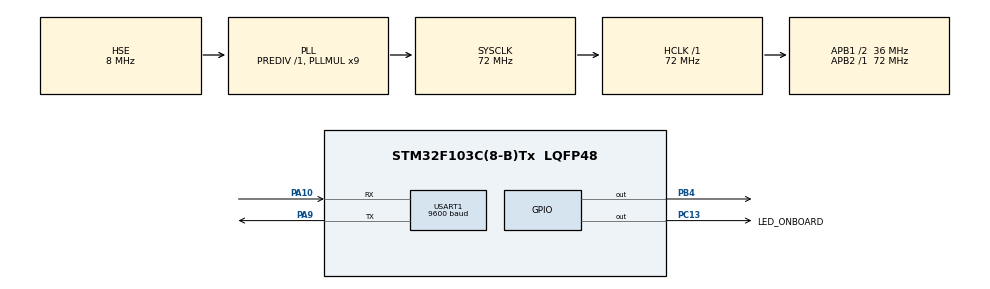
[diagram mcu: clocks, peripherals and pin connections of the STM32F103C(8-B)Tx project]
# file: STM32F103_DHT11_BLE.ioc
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Mcu.Family=STM32F1
Mcu.Name=STM32F103C(8-B)Tx
Mcu.Package=LQFP48
NVIC.PriorityGroup=NVIC_PRIORITYGROUP_4
NVIC.USART1_IRQn=true\:0\:0\:false\:false\:true\:true\:true\:true
PA10.Mode=Asynchronous
PA10.Signal=USART1_RX
PA13.Mode=Serial_Wire
PA13.Signal=SYS_JTMS-SWDIO
PA14.Mode=Serial_Wire
PA14.Signal=SYS_JTCK-SWCLK
PA9.Mode=Asynchronous
PA9.Signal=USART1_TX
PB4.GPIO_ModeDefaultOutputPP=GPIO_MODE_OUTPUT_OD
PB4.GPIO_PuPd=GPIO_NOPULL
PB4.Signal=GPIO_Output
PC13-TAMPER-RTC.GPIO_Label=LED_ONBOARD
PC13-TAMPER-RTC.Signal=GPIO_Output
PD0-OSC_IN.Mode=HSE-External-Oscillator
PD0-OSC_IN.Signal=RCC_OSC_IN
PD1-OSC_OUT.Mode=HSE-External-Oscillator
PD1-OSC_OUT.Signal=RCC_OSC_OUT
ProjectManager.HeapSize=0x200
ProjectManager.StackSize=0x400
ProjectManager.TargetToolchain=STM32CubeIDE
RCC.AHBFreq_Value=72000000
RCC.APB1CLKDivider=RCC_HCLK_DIV2
RCC.APB1Freq_Value=36000000
RCC.APB1TimFreq_Value=72000000
RCC.APB2Freq_Value=72000000
RCC.APB2TimFreq_Value=72000000
RCC.HCLKFreq_Value=72000000
RCC.PLLMUL=RCC_PLL_MUL9
RCC.PLLSourceVirtual=RCC_PLLSOURCE_HSE
RCC.SYSCLKFreq_VALUE=72000000
RCC.SYSCLKSource=RCC_SYSCLKSOURCE_PLLCLK
RCC.USBFreq_Value=72000000
TIM4.Period=0xffff-1
TIM4.Prescaler=72-1
USART1.BaudRate=9600
USART1.VirtualMode=VM_ASYNC
VP_TIM4_VS_ClockSourceINT.Mode=Internal
board=custom

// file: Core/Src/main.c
/* USER CODE BEGIN Header */
/**
  ******************************************************************************
  * @file           : main.c
  * @brief          : Main program body
  ******************************************************************************
  * @attention
  *
  * Copyright (c) 2025 STMicroelectronics.
  * All rights reserved.
  *
  * This software is licensed under terms that can be found in the LICENSE file
  * in the root directory of this software component.
  * If no LICENSE file comes with this software, it is provided AS-IS.
  *
  ******************************************************************************
  */
/* USER CODE END Header */
#include "main.h"

/* USER CODE BEGIN Includes */
#include "DHT11.h"
#include <stdio.h>
#include <string.h>
#include <stdint.h>
/* USER CODE END Includes */

TIM_HandleTypeDef htim4;

UART_HandleTypeDef huart1;

/* USER CODE BEGIN PV */
volatile uint8_t temperature = 0;
volatile uint8_t humidty = 0;
volatile uint16_t data = 0;
dht11_t dht11_sensor;
char uartBuffer[20];
/* USER CODE END PV */

void SystemClock_Config(void);
static void MX_GPIO_Init(void);
static void MX_TIM4_Init(void);
static void MX_USART1_UART_Init(void);

int main(void)
{

  /* MCU Configuration--------------------------------------------------------*/

  /* Reset of all peripherals, Initializes the Flash interface and the Systick. */
  HAL_Init();

  /* Configure the system clock */
  SystemClock_Config();

  /* Initialize all configured peripherals */
  MX_GPIO_Init();
  MX_TIM4_Init();
  MX_USART1_UART_Init();
  /* USER CODE BEGIN 2 */
  init_dht11(&dht11_sensor, &htim4, GPIOB, GPIO_PIN_4);
  HAL_TIM_Base_Start(&htim4);
  /* USER CODE END 2 */

  /* Infinite loop */
  /* USER CODE BEGIN WHILE */
  while (1)
  {
	  HAL_GPIO_WritePin(LED_ONBOARD_GPIO_Port, LED_ONBOARD_Pin, GPIO_PIN_SET);
	  HAL_Delay(100);
	  HAL_GPIO_WritePin(LED_ONBOARD_GPIO_Port, LED_ONBOARD_Pin, GPIO_PIN_RESET);
	  HAL_Delay(100);
	  // ReaD DHT11
	  if (readDHT11(&dht11_sensor)) {
		// Lưu giá trị nhiệt độ vào biến global
		temperature = dht11_sensor.temperature;
		humidty = dht11_sensor.humidty;
		HAL_GPIO_WritePin(LED_ONBOARD_GPIO_Port, LED_ONBOARD_Pin, GPIO_PIN_SET);
	    HAL_Delay(1000);
	    HAL_GPIO_WritePin(LED_ONBOARD_GPIO_Port, LED_ONBOARD_Pin, GPIO_PIN_RESET);
	    HAL_Delay(1000);
	    data = temperature*100+humidty;

	  }

	  HAL_GPIO_WritePin(LED_ONBOARD_GPIO_Port, LED_ONBOARD_Pin, GPIO_PIN_SET);
	  HAL_Delay(100);
	  HAL_GPIO_WritePin(LED_ONBOARD_GPIO_Port, LED_ONBOARD_Pin, GPIO_PIN_RESET);
	  HAL_Delay(100);
	  HAL_Delay(1000);

	  // Định dạng dữ liệu dưới dạng chuỗi
	  sprintf(uartBuffer, "%d\r\n", data);
  //	  sprintf(uartBuffer, "Temp: 100 C\r\n");

	  // Gửi dữ liệu qua USART1
	  HAL_UART_Transmit(&huart1, (uint8_t*)uartBuffer, strlen(uartBuffer), 100);

	  // Đợi 1 giây rồi gửi tiếp
	  HAL_Delay(500);
//
//	  // Định dạng dữ liệu dưới dạng chuỗi
//	  sprintf(uartBuffer, "Humidty: %d %%\r\n", humidty);
//  //	  sprintf(uartBuffer, "Temp: 100 C\r\n");
//
//	  // Gửi dữ liệu qua USART1
//	  HAL_UART_Transmit(&huart1, (uint8_t*)uartBuffer, strlen(uartBuffer), 100);
//
//	  // Đợi 1 giây rồi gửi tiếp
//	  HAL_Delay(500);

    /* USER CODE END WHILE */

  }
}

void SystemClock_Config(void)
{
  RCC_OscInitTypeDef RCC_OscInitStruct = {0};
  RCC_ClkInitTypeDef RCC_ClkInitStruct = {0};

  /** Initializes the RCC Oscillators according to the specified parameters
  * in the RCC_OscInitTypeDef structure.
  */
  RCC_OscInitStruct.OscillatorType = RCC_OSCILLATORTYPE_HSE;
  RCC_OscInitStruct.HSEState = RCC_HSE_ON;
  RCC_OscInitStruct.HSEPredivValue = RCC_HSE_PREDIV_DIV1;
  RCC_OscInitStruct.HSIState = RCC_HSI_ON;
  RCC_OscInitStruct.PLL.PLLState = RCC_PLL_ON;
  RCC_OscInitStruct.PLL.PLLSource = RCC_PLLSOURCE_HSE;
  RCC_OscInitStruct.PLL.PLLMUL = RCC_PLL_MUL9;
  if (HAL_RCC_OscConfig(&RCC_OscInitStruct) != HAL_OK)
  {
    Error_Handler();
  }

  /** Initializes the CPU, AHB and APB buses clocks
  */
  RCC_ClkInitStruct.ClockType = RCC_CLOCKTYPE_HCLK|RCC_CLOCKTYPE_SYSCLK
                              |RCC_CLOCKTYPE_PCLK1|RCC_CLOCKTYPE_PCLK2;
  RCC_ClkInitStruct.SYSCLKSource = RCC_SYSCLKSOURCE_PLLCLK;
  RCC_ClkInitStruct.AHBCLKDivider = RCC_SYSCLK_DIV1;
  RCC_ClkInitStruct.APB1CLKDivider = RCC_HCLK_DIV2;
  RCC_ClkInitStruct.APB2CLKDivider = RCC_HCLK_DIV1;

  if (HAL_RCC_ClockConfig(&RCC_ClkInitStruct, FLASH_LATENCY_2) != HAL_OK)
  {
    Error_Handler();
  }
}

static void MX_TIM4_Init(void)
{

  TIM_ClockConfigTypeDef sClockSourceConfig = {0};
  TIM_MasterConfigTypeDef sMasterConfig = {0};

  htim4.Instance = TIM4;
  htim4.Init.Prescaler = 72-1;
  htim4.Init.CounterMode = TIM_COUNTERMODE_UP;
  htim4.Init.Period = 0xffff-1;
  htim4.Init.ClockDivision = TIM_CLOCKDIVISION_DIV1;
  htim4.Init.AutoReloadPreload = TIM_AUTORELOAD_PRELOAD_DISABLE;
  if (HAL_TIM_Base_Init(&htim4) != HAL_OK)
  {
    Error_Handler();
  }
  sClockSourceConfig.ClockSource = TIM_CLOCKSOURCE_INTERNAL;
  if (HAL_TIM_ConfigClockSource(&htim4, &sClockSourceConfig) != HAL_OK)
  {
    Error_Handler();
  }
  sMasterConfig.MasterOutputTrigger = TIM_TRGO_RESET;
  sMasterConfig.MasterSlaveMode = TIM_MASTERSLAVEMODE_DISABLE;
  if (HAL_TIMEx_MasterConfigSynchronization(&htim4, &sMasterConfig) != HAL_OK)
  {
    Error_Handler();
  }

}

static void MX_USART1_UART_Init(void)
{

  huart1.Instance = USART1;
  huart1.Init.BaudRate = 9600;
  huart1.Init.WordLength = UART_WORDLENGTH_8B;
  huart1.Init.StopBits = UART_STOPBITS_1;
  huart1.Init.Parity = UART_PARITY_NONE;
  huart1.Init.Mode = UART_MODE_TX_RX;
  huart1.Init.HwFlowCtl = UART_HWCONTROL_NONE;
  huart1.Init.OverSampling = UART_OVERSAMPLING_16;
  if (HAL_UART_Init(&huart1) != HAL_OK)
  {
    Error_Handler();
  }

}

static void MX_GPIO_Init(void)
{
  GPIO_InitTypeDef GPIO_InitStruct = {0};

  /* GPIO Ports Clock Enable */
  __HAL_RCC_GPIOC_CLK_ENABLE();
  __HAL_RCC_GPIOD_CLK_ENABLE();
  __HAL_RCC_GPIOA_CLK_ENABLE();
  __HAL_RCC_GPIOB_CLK_ENABLE();

  /*Configure GPIO pin Output Level */
  HAL_GPIO_WritePin(LED_ONBOARD_GPIO_Port, LED_ONBOARD_Pin, GPIO_PIN_RESET);

  /*Configure GPIO pin Output Level */
  HAL_GPIO_WritePin(GPIOB, GPIO_PIN_4, GPIO_PIN_RESET);

  /*Configure GPIO pin : LED_ONBOARD_Pin */
  GPIO_InitStruct.Pin = LED_ONBOARD_Pin;
  GPIO_InitStruct.Mode = GPIO_MODE_OUTPUT_PP;
  GPIO_InitStruct.Pull = GPIO_NOPULL;
  GPIO_InitStruct.Speed = GPIO_SPEED_FREQ_LOW;
  HAL_GPIO_Init(LED_ONBOARD_GPIO_Port, &GPIO_InitStruct);

  /*Configure GPIO pin : PB4 */
  GPIO_InitStruct.Pin = GPIO_PIN_4;
  GPIO_InitStruct.Mode = GPIO_MODE_OUTPUT_OD;
  GPIO_InitStruct.Pull = GPIO_NOPULL;
  GPIO_InitStruct.Speed = GPIO_SPEED_FREQ_LOW;
  HAL_GPIO_Init(GPIOB, &GPIO_InitStruct);

}

void Error_Handler(void)
{
  __disable_irq();
  while (1)
  {
  }
}
